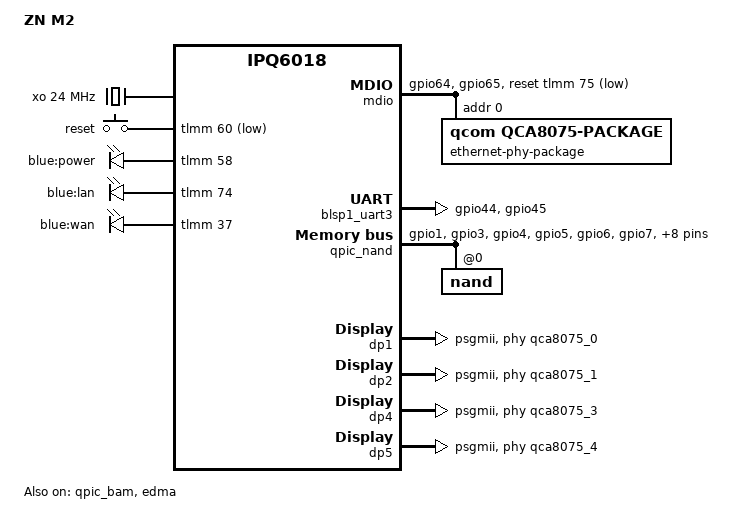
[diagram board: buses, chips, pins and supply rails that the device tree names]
// SPDX-License-Identifier: GPL-2.0-or-later OR MIT
/*
 * ZN M2 - Minimal Device Tree (No WiFi, No HW Acceleration)
 * Fully self-contained, no external dtsi includes.
 */

/dts-v1/;

#include <dt-bindings/interrupt-controller/arm-gic.h>
#include <dt-bindings/clock/qcom,gcc-ipq6018.h>
#include <dt-bindings/reset/qcom,gcc-ipq6018.h>
#include <dt-bindings/clock/qcom,apss-ipq.h>
#include <dt-bindings/thermal/thermal.h>
#include <dt-bindings/gpio/gpio.h>
#include <dt-bindings/input/input.h>
#include <dt-bindings/leds/common.h>
#include <dt-bindings/net/qcom-ipq-ess.h>

/ {
	model = "ZN M2";
	compatible = "zn,m2", "qcom,ipq6018";

	#address-cells = <2>;
	#size-cells = <2>;
	interrupt-parent = <&intc>;

	aliases {
		serial0 = &blsp1_uart3;
		led-boot = &led_power;
		led-failsafe = &led_power;
		led-running = &led_power;
		led-upgrade = &led_power;

		ethernet0 = &dp1;
		ethernet1 = &dp2;
		ethernet3 = &dp4;
		ethernet4 = &dp5;
	};

	chosen {
		stdout-path = "serial0:115200n8";
		bootargs-append = " root=/dev/ubiblock0_1";
	};

	clocks {
		sleep_clk: sleep-clk {
			compatible = "fixed-clock";
			clock-frequency = <32000>;
			#clock-cells = <0>;
		};

		xo: xo {
			compatible = "fixed-clock";
			clock-frequency = <24000000>;
			#clock-cells = <0>;
		};
	};

	cpus: cpus {
		#address-cells = <1>;
		#size-cells = <0>;

		CPU0: cpu@0 {
			device_type = "cpu";
			compatible = "arm,cortex-a53";
			reg = <0x0>;
			enable-method = "psci";
			next-level-cache = <&L2_0>;
			clocks = <&apcs_glb APCS_ALIAS0_CORE_CLK>;
			clock-names = "cpu";
			operating-points-v2 = <&cpu_opp_table>;
			cpu-supply = <&apc_vreg>;
			#cooling-cells = <2>;
		};

		CPU1: cpu@1 {
			device_type = "cpu";
			compatible = "arm,cortex-a53";
			enable-method = "psci";
			reg = <0x1>;
			next-level-cache = <&L2_0>;
			clocks = <&apcs_glb APCS_ALIAS0_CORE_CLK>;
			clock-names = "cpu";
			operating-points-v2 = <&cpu_opp_table>;
			cpu-supply = <&apc_vreg>;
			#cooling-cells = <2>;
		};

		CPU2: cpu@2 {
			device_type = "cpu";
			compatible = "arm,cortex-a53";
			enable-method = "psci";
			reg = <0x2>;
			next-level-cache = <&L2_0>;
			clocks = <&apcs_glb APCS_ALIAS0_CORE_CLK>;
			clock-names = "cpu";
			operating-points-v2 = <&cpu_opp_table>;
			cpu-supply = <&apc_vreg>;
			#cooling-cells = <2>;
		};

		CPU3: cpu@3 {
			device_type = "cpu";
			compatible = "arm,cortex-a53";
			enable-method = "psci";
			reg = <0x3>;
			next-level-cache = <&L2_0>;
			clocks = <&apcs_glb APCS_ALIAS0_CORE_CLK>;
			clock-names = "cpu";
			operating-points-v2 = <&cpu_opp_table>;
			cpu-supply = <&apc_vreg>;
			#cooling-cells = <2>;
		};

		L2_0: l2-cache {
			compatible = "cache";
			cache-level = <2>;
			cache-unified;
		};
	};

	firmware {
		scm {
			compatible = "qcom,scm-ipq6018", "qcom,scm";
			qcom,dload-mode = <&tcsr 0x6100>;
		};
	};

	cpu_opp_table: opp-table-cpu {
		compatible = "operating-points-v2-kryo-cpu";
		nvmem-cells = <&cpu_speed_bin>;
		opp-shared;

		opp-864000000 {
			opp-hz = /bits/ 64 <864000000>;
			opp-microvolt = <1>;
			opp-supported-hw = <0xf>;
			clock-latency-ns = <200000>;
		};

		opp-1056000000 {
			opp-hz = /bits/ 64 <1056000000>;
			opp-microvolt = <2>;
			opp-supported-hw = <0xf>;
			clock-latency-ns = <200000>;
		};

		opp-1200000000 {
			opp-hz = /bits/ 64 <1200000000>;
			opp-microvolt = <3>;
			opp-supported-hw = <0xf>;
			clock-latency-ns = <200000>;
		};

		opp-1320000000 {
			opp-hz = /bits/ 64 <1320000000>;
			opp-microvolt = <3>;
			opp-supported-hw = <0x3>;
			clock-latency-ns = <200000>;
		};

		opp-1440000000 {
			opp-hz = /bits/ 64 <1440000000>;
			opp-microvolt = <4>;
			opp-supported-hw = <0x3>;
			clock-latency-ns = <200000>;
		};

		opp-1512000000 {
			opp-hz = /bits/ 64 <1512000000>;
			opp-microvolt = <5>;
			opp-supported-hw = <0x1>;
			clock-latency-ns = <200000>;
		};

		opp-1608000000 {
			opp-hz = /bits/ 64 <1608000000>;
			opp-microvolt = <5>;
			opp-supported-hw = <0x1>;
			clock-latency-ns = <200000>;
		};

		opp-1800000000 {
			opp-hz = /bits/ 64 <1800000000>;
			opp-microvolt = <6>;
			opp-supported-hw = <0x1>;
			clock-latency-ns = <200000>;
		};
	};

	keys {
		compatible = "gpio-keys";

		reset {
			label = "reset";
			gpios = <&tlmm 60 GPIO_ACTIVE_LOW>;
			linux,code = <KEY_RESTART>;
		};
	};

	leds {
		compatible = "gpio-leds";

		led_power: power {
			label = "blue:power";
			gpios = <&tlmm 58 GPIO_ACTIVE_HIGH>;
		};

		lan {
			label = "blue:lan";
			gpios = <&tlmm 74 GPIO_ACTIVE_HIGH>;
		};

		wan {
			label = "blue:wan";
			gpios = <&tlmm 37 GPIO_ACTIVE_HIGH>;
		};
	};

	pmuv8: pmu {
		compatible = "arm,cortex-a53-pmu";
		interrupts = <GIC_PPI 7 (GIC_CPU_MASK_SIMPLE(4) | IRQ_TYPE_LEVEL_HIGH)>;
	};

	psci: psci {
		compatible = "arm,psci-1.0";
		method = "smc";
	};

	rpm: remoteproc {
		compatible = "qcom,ipq6018-rpm-proc", "qcom,rpm-proc";

		glink-edge {
			compatible = "qcom,glink-rpm";
			interrupts = <GIC_SPI 168 IRQ_TYPE_EDGE_RISING>;
			qcom,rpm-msg-ram = <&rpm_msg_ram>;
			mboxes = <&apcs_glb 0>;

			rpm_requests: rpm-requests {
				compatible = "qcom,rpm-ipq6018", "qcom,glink-smd-rpm";
				qcom,glink-channels = "rpm_requests";

				regulators {
					compatible = "qcom,rpm-mp5496-regulators";

					mp5496_s2: s2 {
						regulator-min-microvolt = <725000>;
						regulator-max-microvolt = <1062500>;
						regulator-always-on;
					};
				};
			};
		};
	};

	reserved-memory {
		#address-cells = <2>;
		#size-cells = <2>;
		ranges;

		rpm_msg_ram: memory@60000 {
			reg = <0x0 0x00060000 0x0 0x6000>;
			no-map;
		};

		nss_region: memory@40000000 {
			reg = <0x0 0x40000000 0x0 0x01000000>;
			no-map;
		};

		bootloader@4a100000 {
			reg = <0x0 0x4a100000 0x0 0x400000>;
			no-map;
		};

		sbl@4a500000 {
			reg = <0x0 0x4a500000 0x0 0x100000>;
			no-map;
		};

		tz: memory@4a600000 {
			reg = <0x0 0x4a600000 0x0 0x400000>;
			no-map;
		};

		smem_region: memory@4aa00000 {
			reg = <0x0 0x4aa00000 0x0 0x100000>;
			no-map;
		};
	};

	smem {
		compatible = "qcom,smem";
		memory-region = <&smem_region>;
		hwlocks = <&tcsr_mutex 3>;
	};

	soc: soc@0 {
		#address-cells = <2>;
		#size-cells = <2>;
		ranges = <0 0 0 0 0x0 0xffffffff>;
		dma-ranges;
		compatible = "simple-bus";

		mdio: mdio@90000 {
			#address-cells = <1>;
			#size-cells = <0>;
			compatible = "qcom,ipq6018-mdio", "qcom,ipq4019-mdio";
			reg = <0x0 0x00090000 0x0 0x64>;
			clocks = <&gcc GCC_MDIO_AHB_CLK>;
			clock-names = "gcc_mdio_ahb_clk";
			status = "okay";

			pinctrl-0 = <&mdio_pins>;
			pinctrl-names = "default";
			reset-gpios = <&tlmm 75 GPIO_ACTIVE_LOW>;

			ethernet-phy-package@0 {
				compatible = "qcom,qca8075-package";
				#address-cells = <1>;
				#size-cells = <0>;
				reg = <0>;

				qca8075_0: ethernet-phy@0 {
					compatible = "ethernet-phy-ieee802.3-c22";
					reg = <0>;
				};

				qca8075_1: ethernet-phy@1 {
					compatible = "ethernet-phy-ieee802.3-c22";
					reg = <1>;
				};

				qca8075_3: ethernet-phy@3 {
					compatible = "ethernet-phy-ieee802.3-c22";
					reg = <3>;
				};

				qca8075_4: ethernet-phy@4 {
					compatible = "ethernet-phy-ieee802.3-c22";
					reg = <4>;
				};
			};
		};

		qfprom: efuse@a4000 {
			compatible = "qcom,ipq6018-qfprom", "qcom,qfprom";
			reg = <0x0 0x000a4000 0x0 0x2000>;
			#address-cells = <1>;
			#size-cells = <1>;

			cpu_speed_bin: cpu-speed-bin@135 {
				reg = <0x135 0x1>;
				bits = <7 1>;
			};
		};

		prng: qrng@e3000 {
			compatible = "qcom,prng-ee";
			reg = <0x0 0x000e3000 0x0 0x1000>;
			clocks = <&gcc GCC_PRNG_AHB_CLK>;
			clock-names = "core";
		};

		tsens: thermal-sensor@4a9000 {
			compatible = "qcom,ipq6018-tsens", "qcom,ipq8074-tsens";
			reg = <0x0 0x004a9000 0x0 0x1000>,
			      <0x0 0x004a8000 0x0 0x1000>;
			interrupts = <GIC_SPI 184 IRQ_TYPE_LEVEL_HIGH>;
			interrupt-names = "combined";
			#qcom,sensors = <16>;
			#thermal-sensor-cells = <1>;
		};

		cryptobam: dma-controller@704000 {
			compatible = "qcom,bam-v1.7.0";
			reg = <0x0 0x00704000 0x0 0x20000>;
			interrupts = <GIC_SPI 207 IRQ_TYPE_LEVEL_HIGH>;
			clocks = <&gcc GCC_CRYPTO_AHB_CLK>;
			clock-names = "bam_clk";
			#dma-cells = <1>;
			qcom,ee = <1>;
			qcom,controlled-remotely;
		};

		crypto: crypto@73a000 {
			compatible = "qcom,crypto-v5.1";
			reg = <0x0 0x0073a000 0x0 0x6000>;
			clocks = <&gcc GCC_CRYPTO_AHB_CLK>,
				 <&gcc GCC_CRYPTO_AXI_CLK>,
				 <&gcc GCC_CRYPTO_CLK>;
			clock-names = "iface", "bus", "core";
			dmas = <&cryptobam 2>, <&cryptobam 3>;
			dma-names = "rx", "tx";
		};

		tlmm: pinctrl@1000000 {
			compatible = "qcom,ipq6018-pinctrl";
			reg = <0x0 0x01000000 0x0 0x300000>;
			interrupts = <GIC_SPI 208 IRQ_TYPE_LEVEL_HIGH>;
			gpio-controller;
			#gpio-cells = <2>;
			gpio-ranges = <&tlmm 0 0 80>;
			interrupt-controller;
			#interrupt-cells = <2>;

			serial_3_pins: serial3-state {
				pins = "gpio44", "gpio45";
				function = "blsp2_uart";
				drive-strength = <8>;
				bias-pull-down;
			};

			qpic_pins: qpic-state {
				pins = "gpio1", "gpio3", "gpio4",
					"gpio5", "gpio6", "gpio7",
					"gpio8", "gpio10", "gpio11",
					"gpio12", "gpio13", "gpio14",
					"gpio15", "gpio17";
				function = "qpic_pad";
				drive-strength = <8>;
				bias-disable;
			};

			mdio_pins: mdio-pins {
				mdc {
					pins = "gpio64";
					function = "mdc";
					drive-strength = <8>;
					bias-pull-up;
				};

				mdio {
					pins = "gpio65";
					function = "mdio";
					drive-strength = <8>;
					bias-pull-up;
				};
			};
		};

		gcc: clock-controller@1800000 {
			compatible = "qcom,gcc-ipq6018";
			reg = <0x0 0x01800000 0x0 0x80000>;
			clocks = <&xo>, <&sleep_clk>;
			clock-names = "xo", "sleep_clk";
			#clock-cells = <1>;
			#reset-cells = <1>;
		};

		tcsr_mutex: hwlock@1905000 {
			compatible = "qcom,ipq6018-tcsr-mutex", "qcom,tcsr-mutex";
			reg = <0x0 0x01905000 0x0 0x20000>;
			#hwlock-cells = <1>;
		};

		tcsr: syscon@1937000 {
			compatible = "qcom,tcsr-ipq6018", "syscon";
			reg = <0x0 0x01937000 0x0 0x21000>;
		};

		blsp_dma: dma-controller@7884000 {
			compatible = "qcom,bam-v1.7.0";
			reg = <0x0 0x07884000 0x0 0x2b000>;
			interrupts = <GIC_SPI 238 IRQ_TYPE_LEVEL_HIGH>;
			clocks = <&gcc GCC_BLSP1_AHB_CLK>;
			clock-names = "bam_clk";
			#dma-cells = <1>;
			qcom,ee = <0>;
		};

		blsp1_uart3: serial@78b1000 {
			compatible = "qcom,msm-uartdm-v1.4", "qcom,msm-uartdm";
			reg = <0x0 0x078b1000 0x0 0x200>;
			interrupts = <GIC_SPI 306 IRQ_TYPE_LEVEL_HIGH>;
			clocks = <&gcc GCC_BLSP1_UART3_APPS_CLK>,
				 <&gcc GCC_BLSP1_AHB_CLK>;
			clock-names = "core", "iface";
			pinctrl-0 = <&serial_3_pins>;
			pinctrl-names = "default";
			status = "okay";
		};

		qpic_bam: dma-controller@7984000 {
			compatible = "qcom,bam-v1.7.0";
			reg = <0x0 0x07984000 0x0 0x1a000>;
			interrupts = <GIC_SPI 146 IRQ_TYPE_LEVEL_HIGH>;
			clocks = <&gcc GCC_QPIC_AHB_CLK>;
			clock-names = "bam_clk";
			#dma-cells = <1>;
			qcom,ee = <0>;
			status = "okay";
		};

		qpic_nand: nand-controller@79b0000 {
			compatible = "qcom,ipq6018-nand";
			reg = <0x0 0x079b0000 0x0 0x10000>;
			#address-cells = <1>;
			#size-cells = <0>;
			clocks = <&gcc GCC_QPIC_CLK>,
				 <&gcc GCC_QPIC_AHB_CLK>;
			clock-names = "core", "aon";
			dmas = <&qpic_bam 0>,
			       <&qpic_bam 1>,
			       <&qpic_bam 2>;
			dma-names = "tx", "rx", "cmd";
			pinctrl-0 = <&qpic_pins>;
			pinctrl-names = "default";
			status = "okay";

			nand@0 {
				reg = <0>;
				nand-ecc-strength = <4>;
				nand-ecc-step-size = <512>;
				nand-bus-width = <8>;

				partitions {
					compatible = "qcom,smem-part";
				};
			};
		};

		intc: interrupt-controller@b000000 {
			compatible = "qcom,msm-qgic2";
			#address-cells = <2>;
			#size-cells = <2>;
			interrupt-controller;
			#interrupt-cells = <3>;
			reg = <0x0 0x0b000000 0x0 0x1000>,
			      <0x0 0x0b002000 0x0 0x1000>,
			      <0x0 0x0b001000 0x0 0x1000>,
			      <0x0 0x0b004000 0x0 0x1000>;
			interrupts = <GIC_PPI 9 IRQ_TYPE_LEVEL_HIGH>;
			ranges = <0 0 0 0xb00a000 0 0xffd>;

			v2m@0 {
				compatible = "arm,gic-v2m-frame";
				msi-controller;
				reg = <0x0 0x0 0x0 0xffd>;
			};
		};

		watchdog@b017000 {
			compatible = "qcom,kpss-wdt";
			interrupts = <GIC_SPI 3 IRQ_TYPE_EDGE_RISING>;
			reg = <0x0 0x0b017000 0x0 0x40>;
			clocks = <&sleep_clk>;
			timeout-sec = <10>;
		};

		apcs_glb: mailbox@b111000 {
			compatible = "qcom,ipq6018-apcs-apps-global";
			reg = <0x0 0x0b111000 0x0 0x1000>;
			#clock-cells = <1>;
			clocks = <&a53pll>, <&xo>, <&gcc GPLL0>;
			clock-names = "pll", "xo", "gpll0";
			#mbox-cells = <1>;
		};

		a53pll: clock@b116000 {
			compatible = "qcom,ipq6018-a53pll";
			reg = <0x0 0x0b116000 0x0 0x40>;
			#clock-cells = <0>;
			clocks = <&xo>;
			clock-names = "xo";
		};

		timer@b120000 {
			#address-cells = <1>;
			#size-cells = <1>;
			ranges = <0 0 0 0x10000000>;
			compatible = "arm,armv7-timer-mem";
			reg = <0x0 0x0b120000 0x0 0x1000>;

			frame@b120000 {
				frame-number = <0>;
				interrupts = <GIC_SPI 8 IRQ_TYPE_LEVEL_HIGH>,
					     <GIC_SPI 7 IRQ_TYPE_LEVEL_HIGH>;
				reg = <0x0b121000 0x1000>,
				      <0x0b122000 0x1000>;
			};
		};

		/* CPR regulator */
		apc_apm: apm@b111000 {
			compatible = "qcom,ipq807x-apm";
			reg = <0x0 0xb111000 0x0 0x1000>;
			reg-names = "pm-apcc-glb";
			qcom,apm-post-halt-delay = <0x2>;
			qcom,apm-halt-clk-delay = <0x11>;
			qcom,apm-resume-clk-delay = <0x10>;
			qcom,apm-sel-switch-delay = <0x01>;
		};

		apc_cpr: cpr4-ctrl@b018000 {
			compatible = "qcom,cpr4-ipq6018-apss-regulator";
			reg = <0x0 0xb018000 0x0 0x4000>, <0x0 0xa4000 0x0 0x1000>, <0x0 0x0193d008 0x0 0x4>;
			reg-names = "cpr_ctrl", "fuse_base", "cpr_tcsr_reg";
			interrupts = <GIC_SPI 15 IRQ_TYPE_EDGE_RISING>;
			interrupt-names = "cpr";
			qcom,cpr-ctrl-name = "apc";
			qcom,cpr-sensor-time = <1000>;
			qcom,cpr-loop-time = <5000000>;
			qcom,cpr-idle-cycles = <15>;
			qcom,cpr-step-quot-init-min = <0>;
			qcom,cpr-step-quot-init-max = <15>;
			qcom,cpr-count-mode = <0>;
			qcom,cpr-count-repeat = <1>;
			qcom,cpr-down-error-step-limit = <1>;
			qcom,cpr-up-error-step-limit = <1>;
			qcom,apm-ctrl = <&apc_apm>;
			qcom,apm-threshold-voltage = <850000>;
			vdd-supply = <&mp5496_s2>;
			qcom,voltage-step = <12500>;

			thread@0 {
				qcom,cpr-thread-id = <0>;
				qcom,cpr-consecutive-up = <2>;
				qcom,cpr-consecutive-down = <2>;
				qcom,cpr-up-threshold = <2>;
				qcom,cpr-down-threshold = <2>;

				apc_vreg: regulator {
					regulator-name = "apc_corner";
					regulator-min-microvolt = <1>;
					regulator-max-microvolt = <6>;
					qcom,cpr-fuse-corners = <4>;
					qcom,cpr-fuse-combos = <8>;
					qcom,cpr-corners = <6>;
					qcom,cpr-speed-bins = <1>;
					qcom,cpr-speed-bin-corners = <6>;
					qcom,cpr-corner-fmax-map = <1 3 5 6>;
					qcom,allow-voltage-interpolation;
					qcom,allow-quotient-interpolation;
					qcom,cpr-voltage-ceiling =
						<725000 787500 862500
						 925000 987500 1062500>;
					qcom,cpr-voltage-floor =
						<587500 650000 712500
						 750000 787500 850000>;
					qcom,corner-frequencies =
						<864000000 1056000000 1320000000
						1440000000 1608000000 1800000000>;
					regulator-always-on;
				};
			};
		};

		/* ESS - Ethernet Subsystem (minimal, no scheduler config) */
		bias_pll_cc_clk: bias-pll-cc-clk {
			compatible = "fixed-clock";
			clock-frequency = <300000000>;
			clock-output-names = "bias_pll_cc_clk";
			#clock-cells = <0>;
		};

		bias_pll_nss_noc_clk: bias-pll-nss-noc-clk {
			compatible = "fixed-clock";
			clock-frequency = <416500000>;
			clock-output-names = "bias_pll_nss_noc_clk";
			#clock-cells = <0>;
		};

		edma: edma@3ab00000 {
			compatible = "qcom,edma";
			reg = <0x0 0x3ab00000 0x0 0xabe00>;
			reg-names = "edma-reg-base";
			qcom,txdesc-ring-start = <23>;
			qcom,txdesc-rings = <1>;
			qcom,txcmpl-ring-start = <23>;
			qcom,txcmpl-rings = <1>;
			qcom,rxfill-ring-start = <7>;
			qcom,rxfill-rings = <1>;
			qcom,rxdesc-ring-start = <15>;
			qcom,rxdesc-rings = <1>;
			interrupts = <GIC_SPI 378 IRQ_TYPE_LEVEL_HIGH>,
				     <GIC_SPI 354 IRQ_TYPE_LEVEL_HIGH>,
				     <GIC_SPI 346 IRQ_TYPE_LEVEL_HIGH>,
				     <GIC_SPI 379 IRQ_TYPE_LEVEL_HIGH>;
			resets = <&gcc GCC_EDMA_HW_RESET>;
			reset-names = "edma_rst";
			status = "okay";
		};

		ess_instance: ess-instance {
			#address-cells = <1>;
			#size-cells = <1>;
			num_devices = <1>;

			switch: ess-switch@3a000000 {
				compatible = "qcom,ess-switch-ipq60xx";
				reg = <0x3a000000 0x1000000>;
				switch_access_mode = "local bus";
				mdio-bus = <&mdio>;

				switch_cpu_bmp = <ESS_PORT0>;
				switch_inner_bmp = <(ESS_PORT6 | ESS_PORT7)>;
				switch_lan_bmp = <(ESS_PORT1 | ESS_PORT2 | ESS_PORT4)>;
				switch_wan_bmp = <ESS_PORT5>;
				switch_mac_mode = <MAC_MODE_PSGMII>;
				switch_mac_mode1 = <MAC_MODE_DISABLED>;
				switch_mac_mode2 = <MAC_MODE_DISABLED>;

				status = "okay";

				qcom,port_phyinfo {
					port@1 {
						port_id = <1>;
						phy_address = <0>;
					};
					port@2 {
						port_id = <2>;
						phy_address = <1>;
					};
					port@4 {
						port_id = <4>;
						phy_address = <3>;
					};
					port@5 {
						port_id = <5>;
						phy_address = <4>;
					};
				};
			};

			ess-uniphy@7a00000 {
				compatible = "qcom,ess-uniphy";
				reg = <0x7a00000 0x30000>;
				uniphy_access_mode = "local bus";
			};
		};

		dp1: dp1 {
			device_type = "network";
			compatible = "qcom,nss-dp";
			qcom,id = <1>;
			reg = <0x0 0x3a001000 0x0 0x200>;
			qcom,mactype = <0>;
			local-mac-address = [000000000000];
			phy-mode = "psgmii";
			phy-handle = <&qca8075_0>;
			label = "lan3";
			status = "okay";
		};

		dp2: dp2 {
			device_type = "network";
			compatible = "qcom,nss-dp";
			qcom,id = <2>;
			reg = <0x0 0x3a001200 0x0 0x200>;
			qcom,mactype = <0>;
			local-mac-address = [000000000000];
			phy-mode = "psgmii";
			phy-handle = <&qca8075_1>;
			label = "lan2";
			status = "okay";
		};

		dp4: dp4 {
			device_type = "network";
			compatible = "qcom,nss-dp";
			qcom,id = <4>;
			reg = <0x0 0x3a001600 0x0 0x200>;
			qcom,mactype = <0>;
			local-mac-address = [000000000000];
			phy-mode = "psgmii";
			phy-handle = <&qca8075_3>;
			label = "lan1";
			status = "okay";
		};

		dp5: dp5 {
			device_type = "network";
			compatible = "qcom,nss-dp";
			qcom,id = <5>;
			reg = <0x0 0x3a001800 0x0 0x200>;
			qcom,mactype = <0>;
			local-mac-address = [000000000000];
			phy-mode = "psgmii";
			phy-handle = <&qca8075_4>;
			label = "wan";
			status = "okay";
		};
	};

	thermal-zones {
		cpu-thermal {
			polling-delay-passive = <250>;
			thermal-sensors = <&tsens 13>;

			trips {
				cpu-critical {
					temperature = <125000>;
					hysteresis = <1000>;
					type = "critical";
				};

				cpu_alert: cpu-passive {
					temperature = <110000>;
					hysteresis = <1000>;
					type = "passive";
				};
			};

			cooling-maps {
				map0 {
					trip = <&cpu_alert>;
					cooling-device = <&CPU0 THERMAL_NO_LIMIT THERMAL_NO_LIMIT>,
							 <&CPU1 THERMAL_NO_LIMIT THERMAL_NO_LIMIT>,
							 <&CPU2 THERMAL_NO_LIMIT THERMAL_NO_LIMIT>,
							 <&CPU3 THERMAL_NO_LIMIT THERMAL_NO_LIMIT>;
				};
			};
		};
	};

	timer {
		compatible = "arm,armv8-timer";
		interrupts = <GIC_PPI 2 (GIC_CPU_MASK_SIMPLE(4) | IRQ_TYPE_LEVEL_LOW)>,
			     <GIC_PPI 3 (GIC_CPU_MASK_SIMPLE(4) | IRQ_TYPE_LEVEL_LOW)>,
			     <GIC_PPI 4 (GIC_CPU_MASK_SIMPLE(4) | IRQ_TYPE_LEVEL_LOW)>,
			     <GIC_PPI 1 (GIC_CPU_MASK_SIMPLE(4) | IRQ_TYPE_LEVEL_LOW)>;
	};
};
